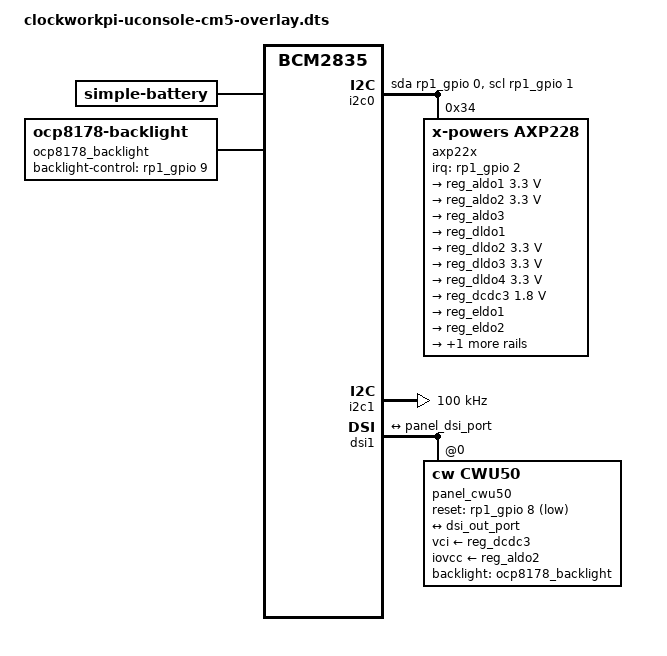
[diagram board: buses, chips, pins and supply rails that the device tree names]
/dts-v1/;
/plugin/;

#include <dt-bindings/gpio/gpio.h>
#include <dt-bindings/clock/rp1.h>


/ {
	compatible = "brcm,bcm2835";
	fragment@0 {
		target = <&i2c0>;
		__overlay__ {
			#address-cells = <1>;
			#size-cells = <0>;
			compatible = "i2c-gpio";
			reg = <3>;
			pinctrl-0 = <&i2c0_pins>;
			pinctrl-names = "default";
			gpios = <&rp1_gpio 0 (GPIO_ACTIVE_HIGH|GPIO_OPEN_DRAIN)
					&rp1_gpio 1 (GPIO_ACTIVE_HIGH|GPIO_OPEN_DRAIN)>;
			i2c-gpio,delay-us = <2>;
			status = "okay";
			axp22x: pmic@34 {
				interrupt-controller;
				#interrupt-cells = <1>;
				compatible = "x-powers,axp228", "x-powers,axp223", "x-powers,axp221";
				reg = <0x34>;
				interrupt-parent = <&rp1_gpio>;
				interrupts = <2 8>; /* Adjusted IRQ for RP1 */
				irq-gpios = <&rp1_gpio 2 0>;
				regulators {
					x-powers,dcdc-freq = <3000>;
					reg_aldo1: aldo1 {
						regulator-always-on;
						regulator-min-microvolt = <3300000>;
						regulator-max-microvolt = <3300000>;
						regulator-name = "audio-vdd";
					};
					reg_aldo2: aldo2 {
						regulator-always-on;
						regulator-min-microvolt = <3300000>;
						regulator-max-microvolt = <3300000>;
						regulator-name = "disp-vcc";
					};
					reg_aldo3: aldo3 {
						regulator-boot-off;
						regulator-name = "wifi-vdd";
					};
					reg_dldo1: dldo1 {
						regulator-boot-off;
						regulator-name = "wifi-vbat-1";
					};
					reg_dldo2: dldo2 {
						regulator-always-on;
						regulator-min-microvolt = <3300000>;
						regulator-max-microvolt = <3300000>;
						regulator-name = "ext-3v3-1";
					};
					reg_dldo3: dldo3 {
						regulator-always-on;
						regulator-min-microvolt = <3300000>;
						regulator-max-microvolt = <3300000>;
						regulator-name = "ext-3v3-2";
					};
					reg_dldo4: dldo4 {
						regulator-always-on;
						regulator-min-microvolt = <3300000>;
						regulator-max-microvolt = <3300000>;
						regulator-name = "ext-3v3-3";
					};
					reg_dcdc3: dcdc3 {
						regulator-always-on;
						regulator-min-microvolt = <1800000>;
						regulator-max-microvolt = <1800000>;
						regulator-name = "sys-1v8";
					};
					reg_eldo1: eldo1 {
						regulator-boot-off;
						regulator-name = "wifi-vbat-2";
					};
					reg_eldo2: eldo2 {
						regulator-boot-off;
						regulator-name = "wifi-vbat-3";
					};
					reg_eldo3: eldo3 {
						regulator-boot-off;
						regulator-name = "wifi-vbat-4";
					};
				};
				battery_power_supply: battery-power-supply {
					compatible = "x-powers,axp221-battery-power-supply";
					monitored-battery = <&battery>;
				};
				ac_power_supply: ac_power_supply {
					compatible = "x-powers,axp221-ac-power-supply";
				};
				usb_power_supply: usb-power {
					compatible = "x-powers,axp223-usb-power-supply";
					status = "disabled";
				};
				axp_adc: adc {
					compatible = "x-powers,axp221-adc";
					#io-channel-cells = <1>;
				};
				axp_gpio: gpio {
					compatible = "x-powers,axp221-gpio";
					#gpio-cells = <2>;
					gpio-controller;
					status = "disabled";
					gpio0_out: gpio0-out-pin {
						pins = "GPIO0";
						function = "gpio_out";
					};
				};
			};
		};
	};
	fragment@1 {
		target-path = "/";
		__overlay__  {
			battery: battery@0 {
				compatible = "simple-battery";
				device-chemistry = "lithium-ion";
				constant-charge-current-max-microamp = <2100000>;
				voltage-max-design-microvolt = <4200000>;
				re-charge-voltage-microvolt = <4000000>;
				voltage-min-design-microvolt = <2900000>;
				energy-full-design-microwatt-hours = <24790000>;
				charge-full-design-microamp-hours = <6700000>;
			};
		};
	};
	fragment@2 {
		target = <&i2c1>;
		__overlay__ {
			status = "okay";
			pinctrl-0 = <&rp1_i2c1_2_3>;
			clock-frequency = <100000>;
		};
	};
	fragment@3 {
		target-path = "/";
		__overlay__ {
			ocp8178_backlight: backlight@0 {
				compatible = "ocp8178-backlight";
				backlight-control-gpios = <&rp1_gpio 9 0>;
				default-brightness = <5>;
			};
		};
	};
	fragment@4 {
		target = <&dsi1>; // dsi1 has iommu property
		__overlay__ {
			#address-cells = <1>;
			#size-cells = <0>;
			status = "okay";
			assigned-clocks = <&rp1_clocks RP1_CLK_MIPI1_DSI_BYTECLOCK>, <&rp1_clocks RP1_CLK_MIPI1_DPI>;
			assigned-clock-rates = <45833333>, <61111240>;
			port {
				dsi_out_port: endpoint {
					remote-endpoint = <&panel_dsi_port>;
				};
			};
			panel_cwu50: panel@0 {
				compatible = "cw,cwu50";
				reg = <0>;
				reset-gpio = <&rp1_gpio 8 1>; /* GPIO_ACTIVE_LOW */
				backlight = <&ocp8178_backlight>;
				rotation = <90>;
				vci-supply = <&reg_dcdc3>;
				iovcc-supply = <&reg_aldo2>;
				status = "okay";
				port {
					panel_dsi_port: endpoint {
						remote-endpoint = <&dsi_out_port>;
					};
				};
			};
		};
	};
	fragment@5 {
		target-path = "ethernet0";
		__overlay__ {
			status = "disabled";
		};
	};
};
